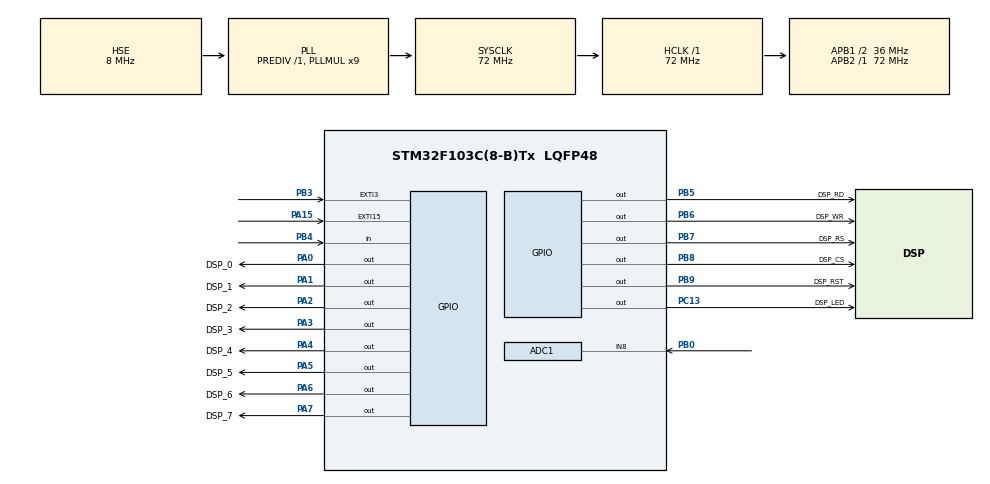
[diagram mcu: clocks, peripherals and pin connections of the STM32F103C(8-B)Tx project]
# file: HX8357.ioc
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ADC1.Channel-0\#ChannelRegularConversion=ADC_CHANNEL_8
ADC1.ExternalTrigConv=ADC_EXTERNALTRIGCONV_T3_TRGO
ADC1.NbrOfConversionFlag=1
ADC1.Rank-0\#ChannelRegularConversion=1
ADC1.SamplingTime-0\#ChannelRegularConversion=ADC_SAMPLETIME_1CYCLE_5
ADC1.master=1
Mcu.Family=STM32F1
Mcu.Name=STM32F103C(8-B)Tx
Mcu.Package=LQFP48
NVIC.EXTI15_10_IRQn=true\:0\:0\:false\:false\:true
NVIC.EXTI3_IRQn=true\:0\:0\:false\:false\:true
NVIC.PriorityGroup=NVIC_PRIORITYGROUP_4
NVIC.TIM3_IRQn=true\:0\:0\:false\:false\:true
NVIC.TIM4_IRQn=true\:0\:0\:false\:false\:true
PA0-WKUP.GPIO_Label=DSP_0
PA0-WKUP.GPIO_ModeDefaultOutputPP=GPIO_MODE_OUTPUT_PP
PA0-WKUP.GPIO_Speed=GPIO_SPEED_FREQ_HIGH
PA0-WKUP.PinState=GPIO_PIN_RESET
PA0-WKUP.Signal=GPIO_Output
PA1.GPIO_Label=DSP_1
PA1.GPIO_ModeDefaultOutputPP=GPIO_MODE_OUTPUT_PP
PA1.GPIO_Speed=GPIO_SPEED_FREQ_HIGH
PA1.PinState=GPIO_PIN_RESET
PA1.Signal=GPIO_Output
PA13.Mode=Serial_Wire
PA13.Signal=SYS_JTMS-SWDIO
PA14.Mode=Serial_Wire
PA14.Signal=SYS_JTCK-SWCLK
PA15.GPIO_ModeDefaultEXTI=GPIO_MODE_IT_RISING
PA15.GPIO_PuPd=GPIO_PULLUP
PA15.Signal=GPXTI15
PA2.GPIO_Label=DSP_2
PA2.GPIO_ModeDefaultOutputPP=GPIO_MODE_OUTPUT_PP
PA2.GPIO_Speed=GPIO_SPEED_FREQ_HIGH
PA2.PinState=GPIO_PIN_RESET
PA2.Signal=GPIO_Output
PA3.GPIO_Label=DSP_3
PA3.GPIO_ModeDefaultOutputPP=GPIO_MODE_OUTPUT_PP
PA3.GPIO_Speed=GPIO_SPEED_FREQ_HIGH
PA3.PinState=GPIO_PIN_RESET
PA3.Signal=GPIO_Output
PA4.GPIO_Label=DSP_4
PA4.GPIO_ModeDefaultOutputPP=GPIO_MODE_OUTPUT_PP
PA4.GPIO_Speed=GPIO_SPEED_FREQ_HIGH
PA4.PinState=GPIO_PIN_RESET
PA4.Signal=GPIO_Output
PA5.GPIO_Label=DSP_5
PA5.GPIO_ModeDefaultOutputPP=GPIO_MODE_OUTPUT_PP
PA5.GPIO_Speed=GPIO_SPEED_FREQ_HIGH
PA5.PinState=GPIO_PIN_RESET
PA5.Signal=GPIO_Output
PA6.GPIO_Label=DSP_6
PA6.GPIO_ModeDefaultOutputPP=GPIO_MODE_OUTPUT_PP
PA6.GPIO_Speed=GPIO_SPEED_FREQ_HIGH
PA6.PinState=GPIO_PIN_RESET
PA6.Signal=GPIO_Output
PA7.GPIO_Label=DSP_7
PA7.GPIO_ModeDefaultOutputPP=GPIO_MODE_OUTPUT_PP
PA7.GPIO_Speed=GPIO_SPEED_FREQ_HIGH
PA7.PinState=GPIO_PIN_RESET
PA7.Signal=GPIO_Output
PB0.Signal=ADCx_IN8
PB3.GPIO_ModeDefaultEXTI=GPIO_MODE_IT_RISING
PB3.GPIO_PuPd=GPIO_PULLUP
PB3.Signal=GPXTI3
PB4.GPIO_PuPd=GPIO_PULLUP
PB4.Signal=GPIO_Input
PB5.GPIO_Label=DSP_RD
PB5.GPIO_ModeDefaultOutputPP=GPIO_MODE_OUTPUT_PP
PB5.GPIO_Speed=GPIO_SPEED_FREQ_HIGH
PB5.PinState=GPIO_PIN_RESET
PB5.Signal=GPIO_Output
PB6.GPIO_Label=DSP_WR
PB6.GPIO_ModeDefaultOutputPP=GPIO_MODE_OUTPUT_PP
PB6.GPIO_Speed=GPIO_SPEED_FREQ_HIGH
PB6.PinState=GPIO_PIN_RESET
PB6.Signal=GPIO_Output
PB7.GPIO_Label=DSP_RS
PB7.GPIO_ModeDefaultOutputPP=GPIO_MODE_OUTPUT_PP
PB7.GPIO_Speed=GPIO_SPEED_FREQ_HIGH
PB7.PinState=GPIO_PIN_RESET
PB7.Signal=GPIO_Output
PB8.GPIO_Label=DSP_CS
PB8.GPIO_ModeDefaultOutputPP=GPIO_MODE_OUTPUT_PP
PB8.GPIO_Speed=GPIO_SPEED_FREQ_HIGH
PB8.PinState=GPIO_PIN_RESET
PB8.Signal=GPIO_Output
PB9.GPIO_Label=DSP_RST
PB9.GPIO_ModeDefaultOutputPP=GPIO_MODE_OUTPUT_PP
PB9.GPIO_Speed=GPIO_SPEED_FREQ_HIGH
PB9.PinState=GPIO_PIN_RESET
PB9.Signal=GPIO_Output
PC13-TAMPER-RTC.GPIO_Label=DSP_LED
PC13-TAMPER-RTC.GPIO_ModeDefaultOutputPP=GPIO_MODE_OUTPUT_PP
PC13-TAMPER-RTC.GPIO_Speed=GPIO_SPEED_FREQ_HIGH
PC13-TAMPER-RTC.PinState=GPIO_PIN_RESET
PC13-TAMPER-RTC.Signal=GPIO_Output
PD0-OSC_IN.Mode=HSE-External-Oscillator
PD0-OSC_IN.Signal=RCC_OSC_IN
PD1-OSC_OUT.Mode=HSE-External-Oscillator
PD1-OSC_OUT.Signal=RCC_OSC_OUT
ProjectManager.HeapSize=0x200
ProjectManager.StackSize=0x400
ProjectManager.TargetToolchain=Makefile
RCC.ADCPresc=RCC_ADCPCLK2_DIV6
RCC.AHBFreq_Value=72000000
RCC.APB1CLKDivider=RCC_HCLK_DIV2
RCC.APB1Freq_Value=36000000
RCC.APB1TimFreq_Value=72000000
RCC.APB2Freq_Value=72000000
RCC.APB2TimFreq_Value=72000000
RCC.HCLKFreq_Value=72000000
RCC.PLLMUL=RCC_PLL_MUL9
RCC.PLLSourceVirtual=RCC_PLLSOURCE_HSE
RCC.SYSCLKFreq_VALUE=72000000
RCC.SYSCLKSource=RCC_SYSCLKSOURCE_PLLCLK
RCC.USBFreq_Value=72000000
SH.ADCx_IN8.0=ADC1_IN8,IN8
TIM3.Period=32-1
TIM3.Prescaler=128-1
TIM3.TIM_MasterOutputTrigger=TIM_TRGO_UPDATE
TIM4.AutoReloadPreload=TIM_AUTORELOAD_PRELOAD_ENABLE
TIM4.Period=1000-1
TIM4.Prescaler=128-1
TIM4.TIM_MasterOutputTrigger=TIM_TRGO_UPDATE
VP_TIM3_VS_ClockSourceINT.Mode=Internal
VP_TIM4_VS_ClockSourceINT.Mode=Internal

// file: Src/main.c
/**
  ******************************************************************************
  * File Name          : main.c
  * Description        : Main program body
  ******************************************************************************
  ** This notice applies to any and all portions of this file
  * that are not between comment pairs USER CODE BEGIN and
  * USER CODE END. Other portions of this file, whether
  * inserted by the user or by software development tools
  * are owned by their respective copyright owners.
  *
  * COPYRIGHT(c) 2018 STMicroelectronics
  *
  * Redistribution and use in source and binary forms, with or without modification,
  * are permitted provided that the following conditions are met:
  *   1. Redistributions of source code must retain the above copyright notice,
  *      this list of conditions and the following disclaimer.
  *   2. Redistributions in binary form must reproduce the above copyright notice,
  *      this list of conditions and the following disclaimer in the documentation
  *      and/or other materials provided with the distribution.
  *   3. Neither the name of STMicroelectronics nor the names of its contributors
  *      may be used to endorse or promote products derived from this software
  *      without specific prior written permission.
  *
  * THIS SOFTWARE IS PROVIDED BY THE COPYRIGHT HOLDERS AND CONTRIBUTORS "AS IS"
  * AND ANY EXPRESS OR IMPLIED WARRANTIES, INCLUDING, BUT NOT LIMITED TO, THE
  * IMPLIED WARRANTIES OF MERCHANTABILITY AND FITNESS FOR A PARTICULAR PURPOSE ARE
  * DISCLAIMED. IN NO EVENT SHALL THE COPYRIGHT HOLDER OR CONTRIBUTORS BE LIABLE
  * FOR ANY DIRECT, INDIRECT, INCIDENTAL, SPECIAL, EXEMPLARY, OR CONSEQUENTIAL
  * DAMAGES (INCLUDING, BUT NOT LIMITED TO, PROCUREMENT OF SUBSTITUTE GOODS OR
  * SERVICES; LOSS OF USE, DATA, OR PROFITS; OR BUSINESS INTERRUPTION) HOWEVER
  * CAUSED AND ON ANY THEORY OF LIABILITY, WHETHER IN CONTRACT, STRICT LIABILITY,
  * OR TORT (INCLUDING NEGLIGENCE OR OTHERWISE) ARISING IN ANY WAY OUT OF THE USE
  * OF THIS SOFTWARE, EVEN IF ADVISED OF THE POSSIBILITY OF SUCH DAMAGE.
  *
  ******************************************************************************
  */
#include "main.h"
#include "stm32f1xx_hal.h"
#include "adc.h"
#include "tim.h"
#include "gpio.h"

/* USER CODE BEGIN Includes */
#include "SetSysClockTo128.h"
#include "pins_ext.h"
#include <math.h>
#include "osc.h"
#include "tft_base.h"
#include "utoa.h"
// #include "myimage.h"

#pragma GCC diagnostic ignored "-Wimplicit-function-declaration"

#define SYSCLK_FREQ_128MHz

#define M_PI 3.14159
/* USER CODE END Includes */

/* USER CODE BEGIN PV */
/* Private variables ---------------------------------------------------------*/
extern TIM_HandleTypeDef htim3;
extern uint16_t BACK_COLOR,POINT_COLOR;
extern uint16_t tft_W;
extern uint16_t tft_H;

/* USER CODE END PV */

void SystemClock_Config(void);

/* USER CODE BEGIN PFP */
/* Private function prototypes -----------------------------------------------*/

/* USER CODE END PFP */

int main(void)
{

  /* MCU Configuration----------------------------------------------------------*/

  /* Reset of all peripherals, Initializes the Flash interface and the Systick. */
  HAL_Init();

  /* Configure the system clock */
  SystemClock_Config();

  /* USER CODE BEGIN SysInit */
  HAL_RCC_DeInit();
  SystemClock_Config128();

  /* USER CODE END SysInit */

  /* Initialize all configured peripherals */
  MX_GPIO_Init();
  MX_TIM3_Init();
  MX_ADC1_Init();
  MX_TIM4_Init();

  /* USER CODE BEGIN 2 */
  tft_init();
  oscil_init();

  /* USER CODE END 2 */

  /* Infinite loop */
  /* USER CODE BEGIN WHILE */
  HAL_TIM_Base_Init(&htim3);
  HAL_TIM_PeriodElapsedCallback(&htim3);
  HAL_TIM_Base_Start_IT(&htim3); //запустим таймер

  HAL_TIM_Base_Init(&htim4);
  HAL_TIM_PeriodElapsedCallback(&htim4);
  HAL_TIM_Base_Start_IT(&htim4); //запустим таймер

  HAL_ADC_Start(&hadc1);//запустим аналогово-цифровое преобразование

  while (1)
  {

  /* USER CODE END WHILE */

  /* USER CODE BEGIN 3 */
    oscil_run();

  }
  /* USER CODE END 3 */

}

/** System Clock Configuration
*/
void SystemClock_Config(void)
{

  RCC_OscInitTypeDef RCC_OscInitStruct;
  RCC_ClkInitTypeDef RCC_ClkInitStruct;
  RCC_PeriphCLKInitTypeDef PeriphClkInit;

    /**Initializes the CPU, AHB and APB busses clocks
    */
  RCC_OscInitStruct.OscillatorType = RCC_OSCILLATORTYPE_HSE;
  RCC_OscInitStruct.HSEState = RCC_HSE_ON;
  RCC_OscInitStruct.HSEPredivValue = RCC_HSE_PREDIV_DIV1;
  RCC_OscInitStruct.HSIState = RCC_HSI_ON;
  RCC_OscInitStruct.PLL.PLLState = RCC_PLL_ON;
  RCC_OscInitStruct.PLL.PLLSource = RCC_PLLSOURCE_HSE;
  RCC_OscInitStruct.PLL.PLLMUL = RCC_PLL_MUL9;
  if (HAL_RCC_OscConfig(&RCC_OscInitStruct) != HAL_OK)
  {
    _Error_Handler(__FILE__, __LINE__);
  }

    /**Initializes the CPU, AHB and APB busses clocks
    */
  RCC_ClkInitStruct.ClockType = RCC_CLOCKTYPE_HCLK|RCC_CLOCKTYPE_SYSCLK
                              |RCC_CLOCKTYPE_PCLK1|RCC_CLOCKTYPE_PCLK2;
  RCC_ClkInitStruct.SYSCLKSource = RCC_SYSCLKSOURCE_PLLCLK;
  RCC_ClkInitStruct.AHBCLKDivider = RCC_SYSCLK_DIV1;
  RCC_ClkInitStruct.APB1CLKDivider = RCC_HCLK_DIV2;
  RCC_ClkInitStruct.APB2CLKDivider = RCC_HCLK_DIV1;

  if (HAL_RCC_ClockConfig(&RCC_ClkInitStruct, FLASH_LATENCY_2) != HAL_OK)
  {
    _Error_Handler(__FILE__, __LINE__);
  }

  PeriphClkInit.PeriphClockSelection = RCC_PERIPHCLK_ADC;
  PeriphClkInit.AdcClockSelection = RCC_ADCPCLK2_DIV6;
  if (HAL_RCCEx_PeriphCLKConfig(&PeriphClkInit) != HAL_OK)
  {
    _Error_Handler(__FILE__, __LINE__);
  }

    /**Configure the Systick interrupt time
    */
  HAL_SYSTICK_Config(HAL_RCC_GetHCLKFreq()/1000);

    /**Configure the Systick
    */
  HAL_SYSTICK_CLKSourceConfig(SYSTICK_CLKSOURCE_HCLK);

  /* SysTick_IRQn interrupt configuration */
  HAL_NVIC_SetPriority(SysTick_IRQn, 0, 0);
}

void _Error_Handler(char * file, int line)
{
  while(1)
  {
  }
}

/************************ (C) COPYRIGHT STMicroelectronics *****END OF FILE****/
